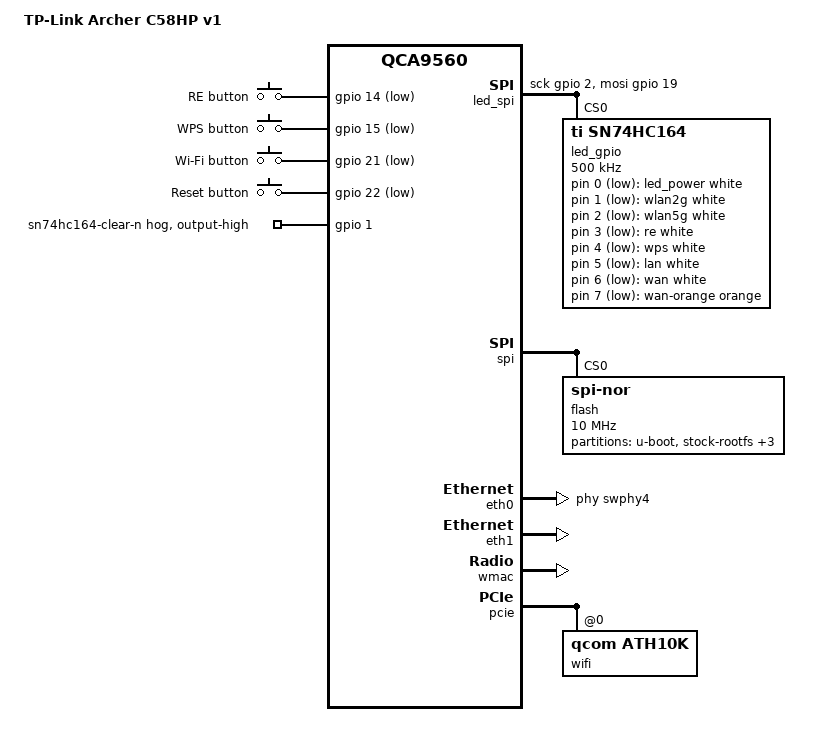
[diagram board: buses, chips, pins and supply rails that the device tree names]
// SPDX-License-Identifier: GPL-2.0-or-later OR MIT
#include "qca956x.dtsi"
#include <dt-bindings/gpio/gpio.h>
#include <dt-bindings/input/input.h>
#include <dt-bindings/leds/common.h>

/ {
	compatible = "tplink,archer-c58hp-v1", "qca,qca9560";
	model = "TP-Link Archer C58HP v1";

	aliases {
		led-boot = &led_power;
		led-failsafe = &led_power;
		led-running = &led_power;
		led-upgrade = &led_power;
		label-mac-device = &eth1;
	};

	led_spi {
		compatible = "spi-gpio";
		#address-cells = <1>;
		#size-cells = <0>;
		sck-gpios = <&gpio 2 GPIO_ACTIVE_HIGH>;
		mosi-gpios = <&gpio 19 GPIO_ACTIVE_HIGH>;
		num-chipselects = <0>;

		led_gpio: gpio@0 {
			compatible = "ti,sn74hc164";
			reg = <0>;
			gpio-controller;
			#gpio-cells = <2>;
			registers-number = <1>;
			spi-max-frequency = <500000>;
		};
	};

	/* Output roles and colors verified with the device controls fixture. */
	leds {
		compatible = "gpio-leds";
		led_power: power {
			color = <LED_COLOR_ID_WHITE>;
			function = LED_FUNCTION_POWER;
			gpios = <&led_gpio 0 GPIO_ACTIVE_LOW>;
			default-state = "on";
		};
		wlan2g {
			color = <LED_COLOR_ID_WHITE>;
			function = "wlan2g";
			gpios = <&led_gpio 1 GPIO_ACTIVE_LOW>;
			linux,default-trigger = "phy1tpt";
			default-state = "off";
		};
		wlan5g {
			color = <LED_COLOR_ID_WHITE>;
			function = "wlan5g";
			gpios = <&led_gpio 2 GPIO_ACTIVE_LOW>;
			linux,default-trigger = "phy0tpt";
			default-state = "off";
		};
		re {
			color = <LED_COLOR_ID_WHITE>;
			function = "re";
			gpios = <&led_gpio 3 GPIO_ACTIVE_LOW>;
			default-state = "off";
		};
		wps {
			color = <LED_COLOR_ID_WHITE>;
			function = LED_FUNCTION_WPS;
			gpios = <&led_gpio 4 GPIO_ACTIVE_LOW>;
			default-state = "off";
		};
		lan {
			color = <LED_COLOR_ID_WHITE>;
			function = LED_FUNCTION_LAN;
			gpios = <&led_gpio 5 GPIO_ACTIVE_LOW>;
			default-state = "off";
		};
		wan {
			color = <LED_COLOR_ID_WHITE>;
			function = LED_FUNCTION_WAN;
			gpios = <&led_gpio 6 GPIO_ACTIVE_LOW>;
			default-state = "off";
		};
		wan-orange {
			color = <LED_COLOR_ID_ORANGE>;
			function = LED_FUNCTION_WAN;
			gpios = <&led_gpio 7 GPIO_ACTIVE_LOW>;
			default-state = "off";
		};
	};

	keys {
		compatible = "gpio-keys-polled";
		poll-interval = <20>;
		re {
			label = "RE button";
			linux,code = <BTN_0>;
			gpios = <&gpio 14 GPIO_ACTIVE_LOW>;
			debounce-interval = <60>;
		};
		wps {
			label = "WPS button";
			linux,code = <KEY_WPS_BUTTON>;
			gpios = <&gpio 15 GPIO_ACTIVE_LOW>;
			debounce-interval = <60>;
		};
		wifi {
			label = "Wi-Fi button";
			linux,code = <KEY_RFKILL>;
			gpios = <&gpio 21 GPIO_ACTIVE_LOW>;
			debounce-interval = <60>;
		};
		reset {
			label = "Reset button";
			linux,code = <KEY_RESTART>;
			gpios = <&gpio 22 GPIO_ACTIVE_LOW>;
			debounce-interval = <60>;
		};
	};
};

&gpio {
	pinctrl-names = "default";
	pinctrl-0 = <&jtag_disable_pins>;

	/* Deassert the SN74HC164's active-low asynchronous clear input. */
	shift-clear-hog {
		gpio-hog;
		gpios = <1 GPIO_ACTIVE_HIGH>;
		output-high;
		line-name = "sn74hc164-clear-n";
	};
};

&spi {
	status = "okay";

	flash@0 {
		compatible = "jedec,spi-nor";
		reg = <0>;
		spi-max-frequency = <10000000>;

		partitions {
			compatible = "fixed-partitions";
			#address-cells = <1>;
			#size-cells = <1>;

			/* Preserve the stock layout, all read-only during RAM tests. */
			partition@0 {
				label = "u-boot";
				reg = <0x000000 0x010000>;
				read-only;
			};

			partition@10000 {
				label = "stock-rootfs";
				reg = <0x010000 0x6c0000>;
				read-only;
			};

			partition@6d0000 {
				label = "stock-kernel";
				reg = <0x6d0000 0x110000>;
				read-only;
			};

			partition@7e0000 {
				label = "info";
				reg = <0x7e0000 0x010000>;
				read-only;

				nvmem-layout {
					compatible = "fixed-layout";
					#address-cells = <1>;
					#size-cells = <1>;

					/* Six-byte payload after length/reserved words. */
					macaddr_info_8: macaddr@8 {
						compatible = "mac-base";
						reg = <0x8 0x6>;
						#nvmem-cell-cells = <1>;
					};
				};
			};

			partition@7f0000 {
				label = "art";
				reg = <0x7f0000 0x010000>;
				read-only;

				nvmem-layout {
					compatible = "fixed-layout";
					#address-cells = <1>;
					#size-cells = <1>;

					cal_art_1000: calibration@1000 {
						reg = <0x1000 0x440>;
					};

					precal_art_5000: pre-calibration@5000 {
						reg = <0x5000 0x2f20>;
					};
				};
			};
		};
	};
};

/* Vendor HP code attaches WAN to PHY 4, without C58 PHY swapping. */
&eth0 {
	status = "okay";
	phy-handle = <&swphy4>;
	nvmem-cells = <&macaddr_info_8 1>;
	nvmem-cell-names = "mac-address";
};

&eth1 {
	status = "okay";
	nvmem-cells = <&macaddr_info_8 0>;
	nvmem-cell-names = "mac-address";
};

&wmac {
	status = "okay";
	nvmem-cells = <&macaddr_info_8 0>, <&cal_art_1000>;
	nvmem-cell-names = "mac-address", "calibration";
};

&pcie {
	status = "okay";

	wifi@0,0 {
		compatible = "qcom,ath10k";
		reg = <0x0000 0 0 0 0>;
		nvmem-cells = <&precal_art_5000>, <&macaddr_info_8 (-1)>;
		nvmem-cell-names = "pre-calibration", "mac-address";
	};
};
